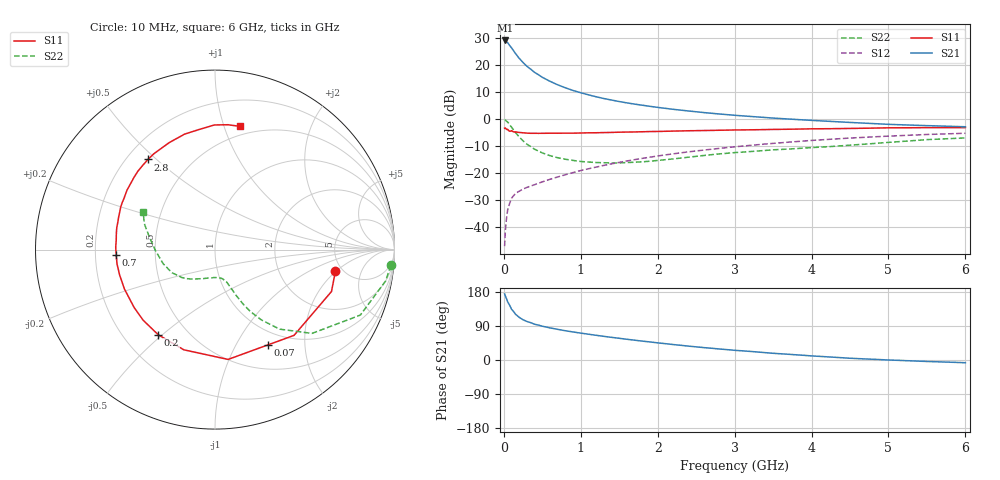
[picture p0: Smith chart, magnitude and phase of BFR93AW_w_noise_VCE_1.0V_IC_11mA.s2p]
! Infineon Technologies  Discrete & RF Semiconductors
! BFR93AW
! VCE =  1.0 V,  IC =  11 mA
! Common Emitter S-Parameters:  Jan 2017
# GHz  S  MA  R  50
!  f  S11  S21  S12  S22
! GHz  MAG  ANG  MAG  ANG  MAG  ANG  MAG  ANG
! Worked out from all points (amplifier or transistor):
!   77 points, 10 MHz to 6 GHz, reference 50 ohm
!   highest |S21| = 29.1 dB at 20 MHz (marker M1)
!   |S21| within 3 dB of that: start of sweep to 106.6 MHz
!   unconditionally stable (mu >= 1): 727.6 MHz to 2.506 GHz
!   at 130 MHz: K = 0.34, MSG = 26.7 dB, |S12| = -28.2 dB
!   at 2.2 GHz: K = 1.03, MAG = 7.2 dB, |S12| = -12.8 dB
!   at 6 GHz: K = 0.95, MSG = 1.2 dB, |S12| = -5.2 dB
!   lowest NFmin = 1.26 dB at 450 MHz
!   S11 on the Smith chart (normalised r, x): 10 MHz: 4.36, -1.97; 70 MHz: 0.81, -1.36; 200 MHz: 0.34, -0.48; 700 MHz: 0.29, -0.03; 2.8 GHz: 0.28, +0.47; 6 GHz: 0.42, +1.13
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0.01  0.6819 -10.2  28.61 174.4  0.0045 85.2  0.9831 -5.1
0.02  0.6897 -19.8  28.62 168.9  0.0088 83.6  0.9669 -10.4
0.05  0.6498 -47.3  26.07 153.3  0.021 69.8  0.8886 -24.2
0.07  0.607 -61.1  23.69 146.6  0.0263 63.1  0.8111 -30.0
0.1  0.6162 -83.2  20.89 133.9  0.0346 57.0  0.7143 -40.8
0.15  0.5846 -107.3  16.52 121.2  0.0422 50.4  0.5711 -50.9
0.2  0.5701 -123.7  13.38 112.5  0.0467 48.4  0.4693 -56.6
0.25  0.5613 -135.5  11.17 106.2  0.0512 47.6  0.3985 -60.2
0.3  0.5542 -144.3  9.521 101.6  0.0549 48.4  0.3455 -62.5
0.4  0.5503 -156.3  7.358 94.4  0.0617 50.5  0.2789 -65.3
0.5  0.5498 -165.0  5.964 89.2  0.0695 52.6  0.2384 -67.1
0.6  0.5516 -171.4  5.028 84.7  0.0776 53.9  0.2123 -68.7
0.7  0.5515 -176.7  4.332 80.9  0.0856 56.4  0.1941 -70.0
0.9  0.5528 174.5  3.401 74.0  0.1032 59.0  0.1733 -74.1
1.1  0.561 167.3  2.825 68.1  0.1214 60.1  0.1619 -79.2
1.5  0.5763 155.7  2.124 57.3  0.1593 60.4  0.1558 -92.6
2.1  0.5987 141.0  1.591 43.1  0.2192 57.6  0.1786 -114.9
2.8  0.626 126.6  1.251 29.1  0.2888 52.3  0.2285 -135.0
3.1  0.6351 120.6  1.156 24.2  0.3187 49.3  0.2468 -142.6
4.1  0.6664 103.2  0.936 9.6  0.414 38.7  0.3042 -167.9
5.1  0.6947 89.1  0.796 -0.7  0.4942 27.3  0.3822 166.8
6  0.7004 78.7  0.726 -7.2  0.5508 17.0  0.4519 152.2
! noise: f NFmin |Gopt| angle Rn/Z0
0.45  1.26  0.12  111  0.13
0.9  1.57  0.23  157  0.14
1.9  2.62  0.47  -146  0.18
2.4  3.24  0.54  -130  0.37
